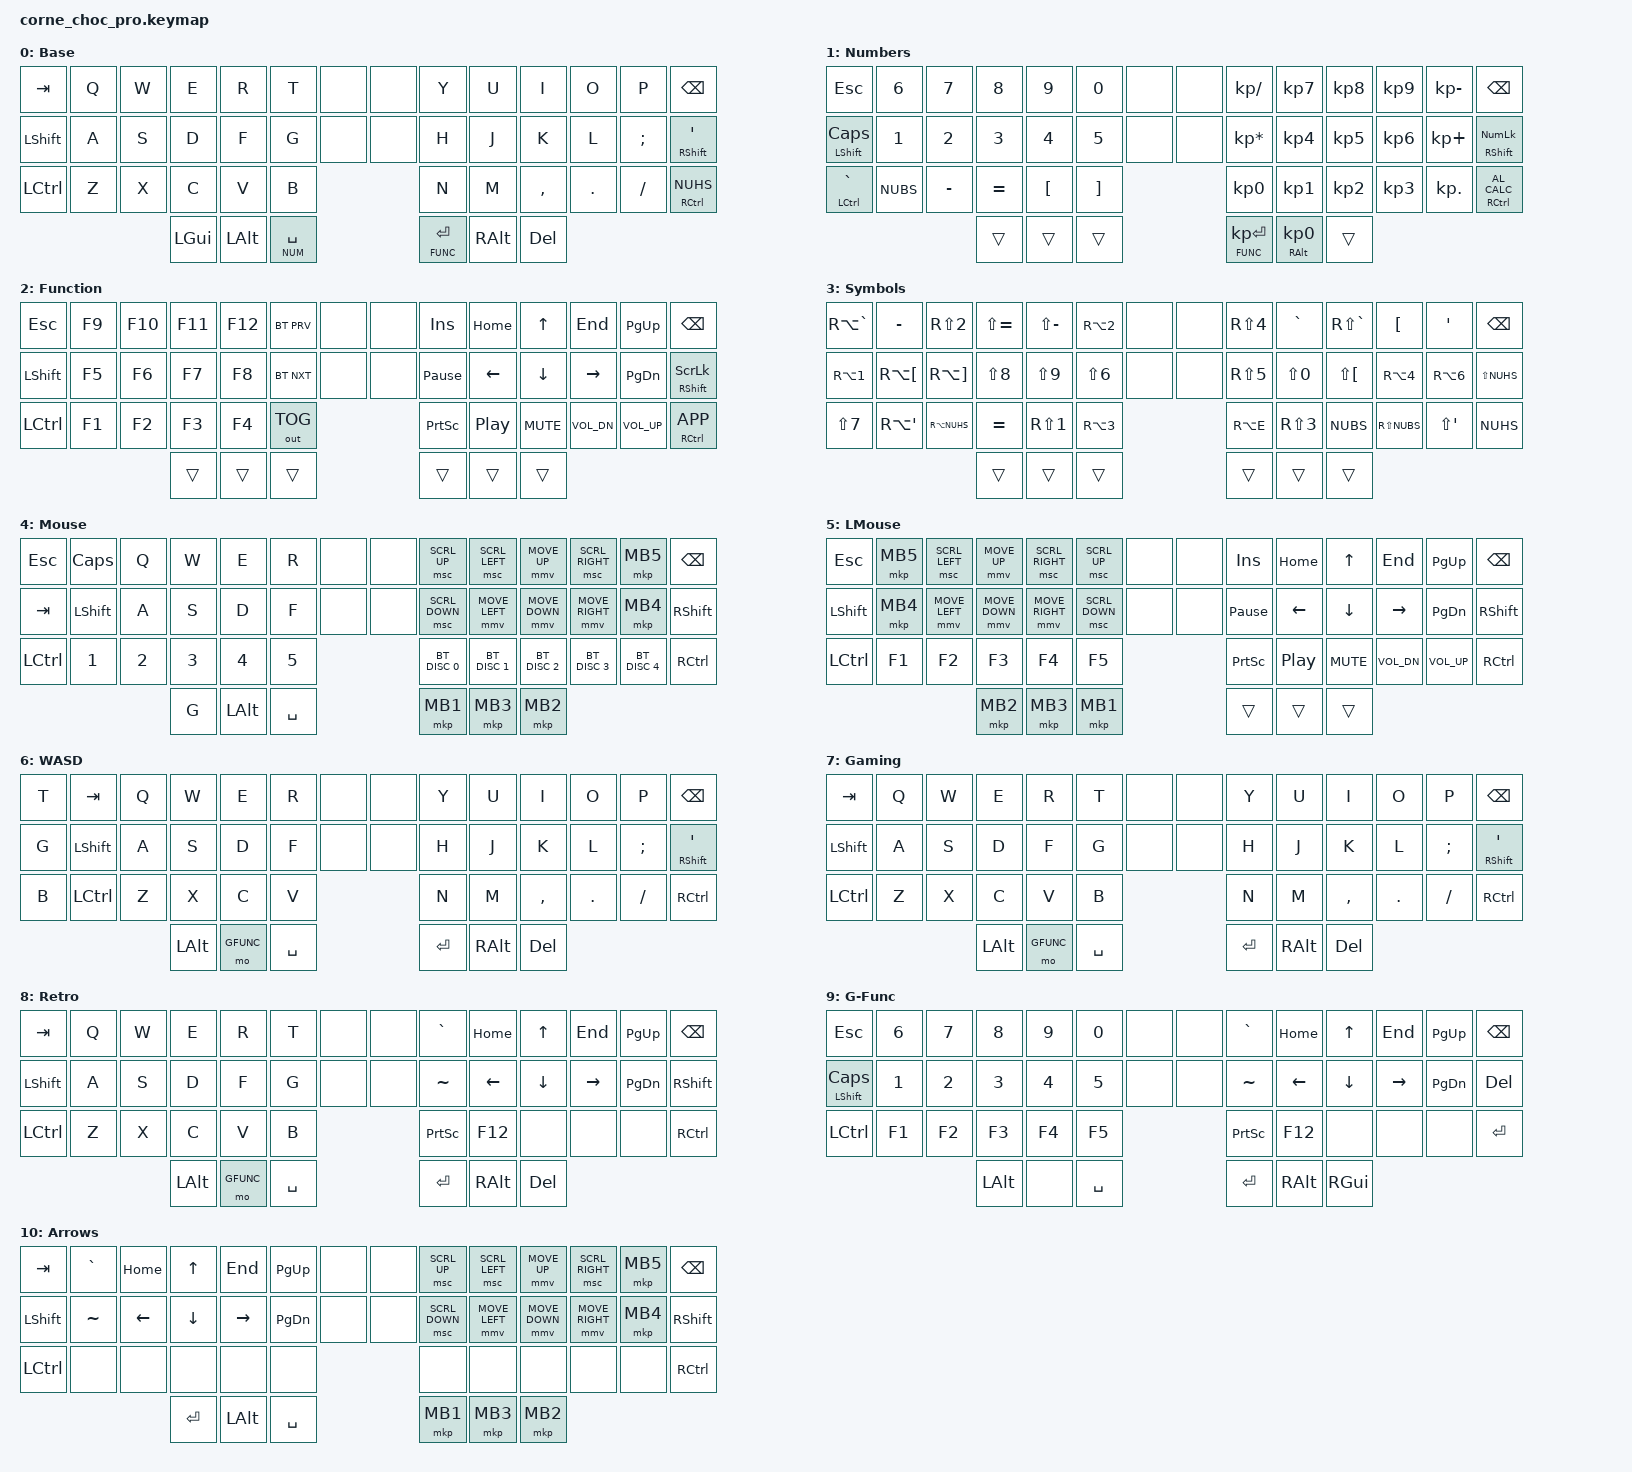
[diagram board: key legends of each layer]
/*
 * Copyright (c) 2020 The ZMK Contributors
 *
 * SPDX-License-Identifier: MIT
 */

#include <behaviors.dtsi>
#include <dt-bindings/zmk/bt.h>
#include <dt-bindings/zmk/keys.h>
#include <dt-bindings/zmk/outputs.h>
#include <dt-bindings/zmk/rgb.h>

#define ZMK_POINTING_DEFAULT_MOVE_VAL 1500  // default: 600
#define ZMK_POINTING_DEFAULT_SCRL_VAL 20    // default: 10
#include <dt-bindings/zmk/pointing.h>

#define BASE 0
#define NUMBERS 1
#define NUM 1
#define FUNCTION 2
#define FUNC 2
#define SYMBOLS 3
#define SYM 3
#define MOUSE 4
#define LMOUSE 5
#define WASD 6
#define GAMING 7
#define RETRO 8
#define GFUNC 9
#define ARROWS 10

#define KEY_TAB 0
#define KEY_BACKSPACE 13
#define KEY_LSHIFT 14
#define KEY_TILDE 27
#define KEY_RSHIFT 27
#define KEY_LCTRL 28
#define KEY_RCTRL 39
#define KEY_WIN 40
#define KEY_LALT 41
#define KEY_SPACE 42
#define KEY_ENTER 43
#define KEY_RALT 44
#define KEY_DEL 45

&mt {
    tapping-term-ms = <200>;
};

&lt {
    tapping-term-ms = <200>;
};

/ {
        behaviors {
            mt: mod_tap {
                compatible = "zmk,behavior-hold-tap";
                #binding-cells = <2>;
                flavor = "balanced";
                tapping-term-ms = <200>;
                bindings = <&kp>, <&kp>;
                display-name = "Mod-Tap";
            };
        };

        combos {
                compatible = "zmk,combos";
                combo_mo_function {
                    timeout-ms = <100>;
                    key-positions = <KEY_WIN KEY_SPACE>;
                    slow-release;
                    bindings = <&mo FUNCTION>;
                    layers = <BASE>;
                };
                combo_mo_numbers {
                    timeout-ms = <100>;
                    key-positions = <KEY_ENTER KEY_DEL>;
                    slow-release;
                    bindings = <&mo NUMBERS>;
                    layers = <BASE>;
                };
                combo_mo_mouse {
                    timeout-ms = <50>;
                    key-positions = <KEY_LALT KEY_SPACE>;
                    slow-release;
                    bindings = <&mo MOUSE>;
                    layers = <BASE>;
                };
                combo_to_mouse {
                    timeout-ms = <50>;
                    key-positions = <KEY_RALT KEY_DEL>;
                    bindings = <&to MOUSE>;
                    layers = <BASE>;
                };
                combo_to_lmouse {
                    timeout-ms = <50>;
                    key-positions = <KEY_WIN KEY_LALT>;
                    bindings = <&to LMOUSE>;
                    layers = <BASE>;
                };
                combo_to_wasd {
                    timeout-ms = <50>;
                    key-positions = <KEY_WIN KEY_LALT KEY_SPACE>;
                    bindings = <&to WASD>;
                    layers = <BASE>;
                };
                combo_to_gaming {
                    timeout-ms = <50>;
                    key-positions = <KEY_ENTER KEY_RALT KEY_DEL>;
                    bindings = <&to GAMING>;
                    layers = <BASE>;
                };
                combo_to_retro {
                    timeout-ms = <50>;
                    key-positions = <KEY_LCTRL KEY_RCTRL>;
                    bindings = <&to RETRO>;
                    layers = <BASE>;
                };
                combo_to_base_retro {
                    timeout-ms = <50>;
                    key-positions = <KEY_LCTRL KEY_RCTRL>;
                    bindings = <&to BASE>;
                    layers = <RETRO>;
                };
                combo_to_arrows {
                    timeout-ms = <50>;
                    key-positions = <KEY_WIN KEY_LCTRL>;
                    bindings = <&to ARROWS>;
                    layers = <BASE>;
                };
                combo_to_base_arrows {
                    timeout-ms = <50>;
                    key-positions = <KEY_WIN KEY_LCTRL>;
                    bindings = <&to BASE>;
                    layers = <ARROWS>;
                };
                combo_to_base {
                    timeout-ms = <50>;
                    key-positions = <KEY_WIN KEY_LALT KEY_SPACE>;
                    bindings = <&to BASE>;
                    layers = <MOUSE LMOUSE WASD GAMING RETRO ARROWS>;
                };
                combo_to_base_alt {
                    timeout-ms = <50>;
                    key-positions = <KEY_ENTER KEY_RALT KEY_DEL>;
                    bindings = <&to BASE>;
                    layers = <MOUSE LMOUSE WASD GAMING RETRO ARROWS>;
                };
                combo_caps_word {
                    timeout-ms = <50>;
                    key-positions = <KEY_LSHIFT KEY_RSHIFT>;
                    bindings = <&caps_word>;
                    layers = <BASE>;
                };
                combo_bt_clr {
                    timeout-ms = <100>;
                    key-positions = <KEY_TAB KEY_BACKSPACE>;
                    bindings = <&bt BT_CLR>;
                    layers = <FUNCTION>;
                };
                combo_rgb_toggle {
                    timeout-ms = <100>;
                    key-positions = <KEY_TAB KEY_BACKSPACE>;
                    bindings = <&rgb_ug RGB_TOG>;
                    layers = <BASE>;
                };
        };

        
        conditional_layers {
            compatible = "zmk,conditional-layers";
            tri_layer {
                if-layers = <NUMBERS FUNCTION>;
                then-layer = <SYMBOLS>;
            };
        };

        keymap {
                compatible = "zmk,keymap";

                base {
                        display-name = "Base";
                        bindings = <
   &kp TAB             &kp Q               &kp W               &kp E               &kp R               &kp T               &none &none         &kp Y               &kp U               &kp I               &kp O               &kp P               &kp BSPC
   &kp LSHIFT          &kp A               &kp S               &kp D               &kp F               &kp G               &none &none         &kp H               &kp J               &kp K               &kp L               &kp SEMI            &mt RSHIFT SQT
   &kp LCTRL           &kp Z               &kp X               &kp C               &kp V               &kp B                                   &kp N               &kp M               &kp COMMA           &kp DOT             &kp FSLH            &mt RCTRL NUHS
                                                               &kp LGUI            &kp LALT            &lt NUM SPACE                           &lt FUNC RET        &kp RALT            &kp DEL
                        >;
                };

                numbers {
                        display-name = "Numbers";
                        bindings = <
   &kp ESC             &kp N6              &kp N7              &kp N8              &kp N9              &kp N0              &none &none         &kp KP_SLASH        &kp KP_N7           &kp KP_N8           &kp KP_N9           &kp KP_MINUS        &kp BSPC
   &mt LSHIFT CAPS     &kp N1              &kp N2              &kp N3              &kp N4              &kp N5              &none &none         &kp KP_ASTERISK     &kp KP_N4           &kp KP_N5           &kp KP_N6           &kp KP_PLUS         &mt RSHIFT KP_NUMLOCK
   &mt LCTRL GRAVE     &kp NUBS            &kp MINUS           &kp EQUAL           &kp LBKT            &kp RBKT                                &kp KP_N0           &kp KP_N1           &kp KP_N2           &kp KP_N3           &kp KP_DOT          &mt RCTRL C_AL_CALC
                                                               &trans              &trans              &trans                                  &lt FUNC KP_ENTER   &mt RALT KP_N0      &trans
                        >;
                };

                function {
                        display-name = "Function";
                        bindings = <
   &kp ESC             &kp F9              &kp F10             &kp F11             &kp F12             &bt BT_PRV          &none &none         &kp INS             &kp HOME            &kp UP              &kp END             &kp PG_UP           &kp BSPC
   &kp LSHIFT          &kp F5              &kp F6              &kp F7              &kp F8              &bt BT_NXT          &none &none         &kp PAUSE_BREAK     &kp LEFT            &kp DOWN            &kp RIGHT           &kp PG_DN           &mt RSHIFT SCROLLLOCK
   &kp LCTRL           &kp F1              &kp F2              &kp F3              &kp F4              &out OUT_TOG                            &kp PSCRN           &kp C_PP            &kp C_MUTE          &kp C_VOL_DN        &kp C_VOL_UP        &mt RCTRL K_APP
                                                               &trans              &trans              &trans                                  &trans              &trans              &trans
                        >;
                };

                symbols {
                        display-name = "Symbols";
                        bindings = <
   &kp RA(GRAVE)       &kp MINUS           &kp RS(N2)          &kp LS(EQUAL)       &kp LS(MINUS)       &kp RA(N2)          &none &none         &kp RS(N4)          &kp GRAVE           &kp RS(GRAVE)       &kp LBKT            &kp SQT             &kp BSPC
   &kp RA(N1)          &kp RA(LBKT)        &kp RA(RBKT)        &kp LS(N8)          &kp LS(N9)          &kp LS(N6)          &none &none         &kp RS(N5)          &kp LS(N0)          &kp LS(LBKT)        &kp RA(N4)          &kp RA(N6)          &kp LS(NUHS)
   &kp LS(N7)          &kp RA(SQT)         &kp RA(NUHS)        &kp EQUAL           &kp RS(N1)          &kp RA(N3)                              &kp RA(E)           &kp RS(N3)          &kp NUBS            &kp RS(NUBS)        &kp LS(SQT)         &kp NUHS
                                                               &trans              &trans              &trans                                  &trans              &trans              &trans
                        >;
                };

                mouse {
                        display-name = "Mouse";
                        bindings = <
   &kp ESC             &kp CAPS            &kp Q               &kp W               &kp E               &kp R               &none &none         &msc SCRL_UP        &msc SCRL_LEFT      &mmv MOVE_UP        &msc SCRL_RIGHT     &mkp MB5            &kp BSPC
   &kp TAB             &kp LSHFT           &kp A               &kp S               &kp D               &kp F               &none &none         &msc SCRL_DOWN      &mmv MOVE_LEFT      &mmv MOVE_DOWN      &mmv MOVE_RIGHT     &mkp MB4            &kp RSHFT
   &kp LCTRL           &kp N1              &kp N2              &kp N3              &kp N4              &kp N5                                  &bt BT_DISC 0       &bt BT_DISC 1       &bt BT_DISC 2       &bt BT_DISC 3       &bt BT_DISC 4       &kp RCTRL
                                                               &kp G               &kp LALT            &kp SPACE                               &mkp MB1            &mkp MB3            &mkp MB2
                        >;
                };

                lmouse {
                        display-name = "LMouse";
                        bindings = <
   &kp ESC             &mkp MB5            &msc SCRL_LEFT      &mmv MOVE_UP        &msc SCRL_RIGHT     &msc SCRL_UP        &none &none         &kp INS             &kp HOME            &kp UP              &kp END             &kp PG_UP           &kp BSPC
   &kp LSHIFT          &mkp MB4            &mmv MOVE_LEFT      &mmv MOVE_DOWN      &mmv MOVE_RIGHT     &msc SCRL_DOWN      &none &none         &kp PAUSE_BREAK     &kp LEFT            &kp DOWN            &kp RIGHT           &kp PG_DN           &kp RSHIFT
   &kp LCTRL           &kp F1              &kp F2              &kp F3              &kp F4              &kp F5                                  &kp PSCRN           &kp C_PP            &kp C_MUTE          &kp C_VOL_DN        &kp C_VOL_UP        &kp RCTRL
                                                               &mkp MB2            &mkp MB3            &mkp MB1                                &trans              &trans              &trans
                        >;
                };

                wasd {
                        display-name = "WASD";
                        bindings = <
   &kp T               &kp TAB             &kp Q               &kp W               &kp E               &kp R               &none &none         &kp Y               &kp U               &kp I               &kp O               &kp P               &kp BSPC
   &kp G               &kp LSHIFT          &kp A               &kp S               &kp D               &kp F               &none &none         &kp H               &kp J               &kp K               &kp L               &kp SEMI            &mt RSHIFT SQT
   &kp B               &kp LCTRL           &kp Z               &kp X               &kp C               &kp V                                   &kp N               &kp M               &kp COMMA           &kp DOT             &kp FSLH            &kp RCTRL
                                                               &kp LALT            &mo GFUNC           &kp SPACE                               &kp RET             &kp RALT            &kp DEL
                        >;
                };

                gaming {
                        display-name = "Gaming";
                        bindings = <
   &kp TAB             &kp Q               &kp W               &kp E               &kp R               &kp T               &none &none         &kp Y               &kp U               &kp I               &kp O               &kp P               &kp BSPC
   &kp LSHIFT          &kp A               &kp S               &kp D               &kp F               &kp G               &none &none         &kp H               &kp J               &kp K               &kp L               &kp SEMI            &mt RSHIFT SQT
   &kp LCTRL           &kp Z               &kp X               &kp C               &kp V               &kp B                                   &kp N               &kp M               &kp COMMA           &kp DOT             &kp FSLH            &kp RCTRL
                                                               &kp LALT            &mo GFUNC           &kp SPACE                               &kp RET             &kp RALT            &kp DEL
                        >;
                };

                retro {
                        display-name = "Retro";
                        bindings = <
   &kp TAB             &kp Q               &kp W               &kp E               &kp R               &kp T               &none &none         &kp GRAVE           &kp HOME            &kp UP              &kp END             &kp PG_UP           &kp BSPC
   &kp LSHIFT          &kp A               &kp S               &kp D               &kp F               &kp G               &none &none         &kp TILDE           &kp LEFT            &kp DOWN            &kp RIGHT           &kp PG_DN           &kp RSHIFT
   &kp LCTRL           &kp Z               &kp X               &kp C               &kp V               &kp B                                   &kp PSCRN           &kp F12             &none               &none               &none               &kp RCTRL
                                                               &kp LALT            &mo GFUNC           &kp SPACE                               &kp RET             &kp RALT            &kp DEL
                        >;
                };

                gfunc {
                        display-name = "G-Func";
                        bindings = <
   &kp ESC             &kp N6              &kp N7              &kp N8              &kp N9              &kp N0              &none &none         &kp GRAVE           &kp HOME            &kp UP              &kp END             &kp PG_UP           &kp BSPC
   &mt LSHIFT CAPS     &kp N1              &kp N2              &kp N3              &kp N4              &kp N5              &none &none         &kp TILDE           &kp LEFT            &kp DOWN            &kp RIGHT           &kp PG_DN           &kp DEL
   &kp LCTRL           &kp F1              &kp F2              &kp F3              &kp F4              &kp F5                                  &kp PSCRN           &kp F12             &none               &none               &none               &kp RET
                                                               &kp LALT            &none               &kp SPACE                               &kp RET             &kp RALT            &kp RGUI
                        >;
                };

                arrows {
                        display-name = "Arrows";
                        bindings = <
   &kp TAB             &kp GRAVE           &kp HOME            &kp UP              &kp END             &kp PG_UP           &none &none         &msc SCRL_UP        &msc SCRL_LEFT      &mmv MOVE_UP        &msc SCRL_RIGHT     &mkp MB5            &kp BSPC
   &kp LSHIFT          &kp TILDE           &kp LEFT            &kp DOWN            &kp RIGHT           &kp PG_DN           &none &none         &msc SCRL_DOWN      &mmv MOVE_LEFT      &mmv MOVE_DOWN      &mmv MOVE_RIGHT     &mkp MB4            &kp RSHFT
   &kp LCTRL           &none               &none               &none               &none               &none                                   &none               &none               &none               &none               &none               &kp RCTRL
                                                               &kp RET             &kp LALT            &kp SPACE                               &mkp MB1            &mkp MB3            &mkp MB2
                        >;
                };
        };
};
